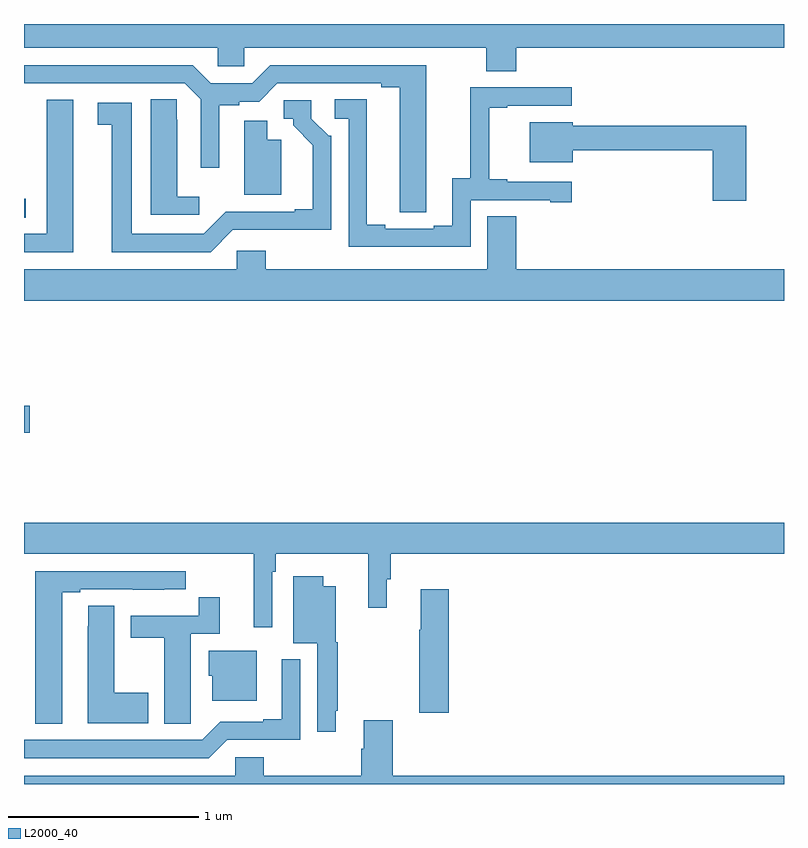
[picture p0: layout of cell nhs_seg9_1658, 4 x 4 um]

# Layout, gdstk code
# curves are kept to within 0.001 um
import gdstk
lib = gdstk.Library(unit=1e-6, precision=1e-09)
def R(c, l, rs):  # rectangles x0, y0, x1, y1
    for r in rs: c.add(gdstk.rectangle(r[:2], r[2:], *l))
def P(c, l, *ps):  # polygons
    for p in ps: c.add(gdstk.Polygon(p, *l))
L2000_40 = (2000, 40)

nhs_seg9_1658 = lib.new_cell('nhs_seg9_1658')
R(nhs_seg9_1658, L2000_40, [(203,1238.35,203.029,1238.492), (203,1239.481,203.008,1239.579)])
P(nhs_seg9_1658, L2000_40, [(205.592,1240.376),(207,1240.376),(207,1240.5),(203,1240.5),(203,1240.376),(204.021,1240.376),(204.021,1240.278),(204.159,1240.278),(204.159,1240.376),(205.432,1240.376),(205.432,1240.252),(205.592,1240.252)],
  [(205.116,1239.616),(205.117,1240.284),(204.297,1240.284),(204.201,1240.188),(203.983,1240.188),(203.887,1240.284),(203,1240.284),(203,1240.188),(203.847,1240.188),(203.931,1240.104),(203.931,1239.744),(204.028,1239.744),(204.028,1240.072),(204.132,1240.072),(204.132,1240.092),(204.237,1240.092),(204.333,1240.188),(204.881,1240.188),(204.881,1240.168),(204.977,1240.168),(204.977,1239.508),(205.116,1239.508)],
  [(205.35,1239.573),(205.769,1239.573),(205.769,1239.561),(205.882,1239.561),(205.882,1239.669),(205.543,1239.669),(205.543,1239.682),(205.448,1239.682),(205.448,1240.059),(205.543,1240.059),(205.543,1240.071),(205.882,1240.071),(205.882,1240.167),(205.348,1240.167),(205.348,1239.689),(205.253,1239.689),(205.253,1239.438),(205.157,1239.438),(205.157,1239.423),(204.901,1239.423),(204.901,1239.443),(204.805,1239.443),(204.805,1240.103),(204.636,1240.103),(204.636,1240.002),(204.708,1240.002),(204.708,1239.327),(205.35,1239.327)],
  [(203.923,1239.592),(203.806,1239.592),(203.806,1239.995),(203.805,1239.995),(203.805,1240.103),(203.666,1240.103),(203.666,1239.495),(203.923,1239.495)],
  [(203.26,1240.102),(203.12,1240.102),(203.12,1239.396),(203,1239.396),(203,1239.3),(203.26,1239.3)],
  [(204.099,1239.417),(204.618,1239.416),(204.618,1239.912),(204.603,1239.912),(204.513,1240.002),(204.513,1240.098),(204.366,1240.098),(204.366,1240.002),(204.416,1240.002),(204.416,1239.967),(204.521,1239.862),(204.521,1239.526),(204.425,1239.526),(204.425,1239.513),(204.063,1239.513),(203.946,1239.396),(203.566,1239.396),(203.566,1240.086),(203.388,1240.086),(203.388,1239.97),(203.462,1239.97),(203.462,1239.3),(203.982,1239.3)],
  [(204.355,1239.892),(204.28,1239.892),(204.28,1239.991),(204.158,1239.991),(204.158,1239.602),(204.355,1239.602)],
  [(206.802,1239.964),(205.888,1239.964),(205.888,1239.982),(205.661,1239.982),(205.661,1239.773),(205.888,1239.773),(205.888,1239.835),(206.624,1239.835),(206.624,1239.57),(206.802,1239.57)],
  [(207,1239.208),(205.592,1239.208),(205.592,1239.488),(205.439,1239.488),(205.439,1239.208),(204.272,1239.208),(204.272,1239.306),(204.12,1239.306),(204.12,1239.208),(203,1239.208),(203,1239.044),(207,1239.044)],
  [(203,1237.712),(204.209,1237.712),(204.209,1237.326),(204.306,1237.326),(204.306,1237.616),(204.326,1237.616),(204.326,1237.712),(204.811,1237.712),(204.811,1237.428),(204.91,1237.428),(204.91,1237.578),(204.929,1237.578),(204.929,1237.712),(207,1237.712),(207,1237.876),(203,1237.876)],
  [(203.2,1237.509),(203.296,1237.509),(203.296,1237.524),(203.572,1237.524),(203.572,1237.523),(203.738,1237.523),(203.738,1237.524),(203.851,1237.524),(203.851,1237.62),(203.06,1237.62),(203.06,1236.817),(203.2,1236.817)],
  [(204.64,1236.886),(204.652,1236.886),(204.652,1237.245),(204.64,1237.245),(204.64,1237.54),(204.574,1237.54),(204.574,1237.594),(204.416,1237.594),(204.416,1237.241),(204.543,1237.241),(204.543,1236.774),(204.64,1236.774)],
  [(205.235,1237.525),(205.088,1237.525),(205.088,1237.312),(205.081,1237.312),(205.081,1236.876),(205.235,1236.876)],
  [(203.877,1236.928),(203.878,1236.928),(203.878,1237.29),(204.029,1237.29),(204.029,1237.483),(203.92,1237.483),(203.92,1237.386),(203.561,1237.386),(203.561,1237.27),(203.738,1237.27),(203.738,1236.817),(203.877,1236.817)],
  [(203.653,1236.981),(203.476,1236.981),(203.476,1237.439),(203.337,1237.439),(203.337,1237.331),(203.336,1237.331),(203.336,1236.821),(203.653,1236.821)],
  [(204.226,1237.201),(203.972,1237.201),(203.972,1237.071),(203.99,1237.071),(203.99,1236.938),(204.226,1236.938)],
  [(204.069,1236.732),(204.453,1236.732),(204.453,1237.156),(204.356,1237.156),(204.356,1236.841),(204.26,1236.841),(204.26,1236.828),(204.033,1236.828),(203.937,1236.732),(203,1236.732),(203,1236.636),(203.973,1236.636)],
  [(207,1236.544),(204.941,1236.544),(204.941,1236.835),(204.788,1236.835),(204.788,1236.686),(204.776,1236.686),(204.776,1236.544),(204.263,1236.544),(204.263,1236.642),(204.111,1236.642),(204.111,1236.544),(203,1236.544),(203,1236.5),(207,1236.5)])

lib.write_gds('nhs_seg9_1658.gds')
